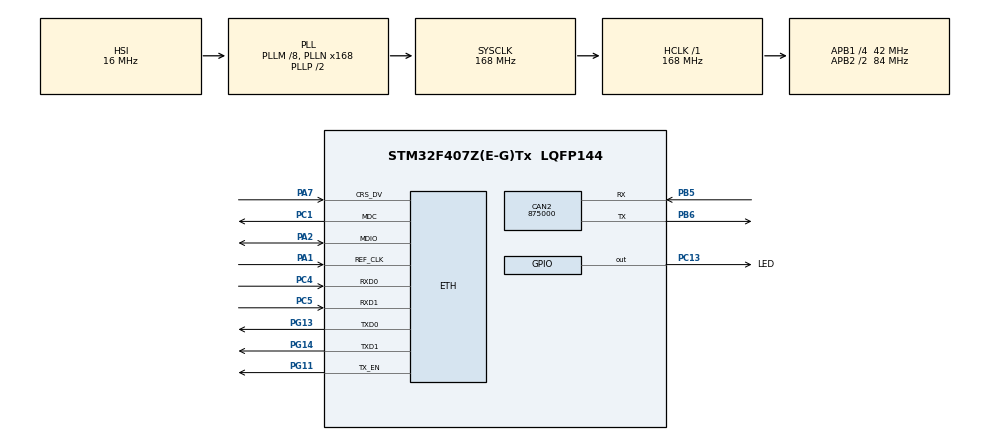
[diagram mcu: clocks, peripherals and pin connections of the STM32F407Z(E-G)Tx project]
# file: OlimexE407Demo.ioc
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CAN2.CalculateBaudRate=875000
CAN2.CalculateTimeBit=1142
CAN2.CalculateTimeQuantum=380.95238095238096
ETH.MediaInterface=HAL_ETH_RMII_MODE
ETH.PHY_Name_RMII=userPHY
ETH.PHY_User_Name=LAN8710A
ETH.PhyAddress=0
ETH.RxMode=ETH_RXINTERRUPT_MODE
FREERTOS.Queues01=UdpPacketQueue,16,uint16_t,0,Dynamic,NULL,NULL;CANPacketQueue,16,uint16_t,0,Dynamic,NULL,NULL
FREERTOS.Tasks01=AppTask,24,128,StartAppTaskTask,Default,NULL,Dynamic,NULL,NULL
FREERTOS.configUSE_NEWLIB_REENTRANT=1
LWIP.BSP.number=1
LWIP.GATEWAY_ADDRESS=192.168.001.001
LWIP.IP_ADDRESS=192.168.001.109
LWIP.LWIP_DHCP=0
LWIP.LWIP_TCP=0
LWIP.MEM_SIZE=10*1024
LWIP.NETMASK_ADDRESS=255.255.255.000
LWIP.Version=v2.1.2_Cube
LWIP0.BSP.STBoard=false
LWIP0.BSP.api=BSP_COMPONENT_DRIVER
LWIP0.BSP.component=LAN8742
LWIP0.BSP.instance=LAN8742
LWIP0.BSP.name=Driver_PHY
LWIP0.BSP.semaphore=S_LAN8742
LWIP0.BSP.solution=LAN8742
Mcu.Family=STM32F4
Mcu.Name=STM32F407Z(E-G)Tx
Mcu.Package=LQFP144
NVIC.ETH_IRQn=true\:5\:0\:false\:false\:true\:true\:false\:true\:true
NVIC.PriorityGroup=NVIC_PRIORITYGROUP_4
NVIC.TIM1_UP_TIM10_IRQn=true\:15\:0\:false\:false\:true\:false\:false\:true\:true
NVIC.TimeBase=TIM1_UP_TIM10_IRQn
NVIC.TimeBaseIP=TIM1
PA1.Mode=RMII
PA1.Signal=ETH_REF_CLK
PA13.Mode=Serial_Wire
PA13.Signal=SYS_JTMS-SWDIO
PA14.Mode=Serial_Wire
PA14.Signal=SYS_JTCK-SWCLK
PA2.Mode=RMII
PA2.Signal=ETH_MDIO
PA7.Mode=RMII
PA7.Signal=ETH_CRS_DV
PB5.Mode=CAN_Activate
PB5.Signal=CAN2_RX
PB6.Mode=CAN_Activate
PB6.Signal=CAN2_TX
PC1.Mode=RMII
PC1.Signal=ETH_MDC
PC13-ANTI_TAMP.GPIO_Label=LED
PC13-ANTI_TAMP.GPIO_PuPd=GPIO_PULLDOWN
PC13-ANTI_TAMP.Signal=GPIO_Output
PC14-OSC32_IN.Mode=LSE-External-Oscillator
PC14-OSC32_IN.Signal=RCC_OSC32_IN
PC15-OSC32_OUT.Mode=LSE-External-Oscillator
PC15-OSC32_OUT.Signal=RCC_OSC32_OUT
PC4.Mode=RMII
PC4.Signal=ETH_RXD0
PC5.Mode=RMII
PC5.Signal=ETH_RXD1
PD0.Signal=CAN1_RX
PD1.Signal=CAN1_TX
PG11.Mode=RMII
PG11.Signal=ETH_TX_EN
PG13.Mode=RMII
PG13.Signal=ETH_TXD0
PG14.Mode=RMII
PG14.Signal=ETH_TXD1
PH0-OSC_IN.Mode=HSE-External-Oscillator
PH0-OSC_IN.Signal=RCC_OSC_IN
PH1-OSC_OUT.Mode=HSE-External-Oscillator
PH1-OSC_OUT.Signal=RCC_OSC_OUT
ProjectManager.HeapSize=0x1600
ProjectManager.StackSize=0x800
ProjectManager.TargetToolchain=STM32CubeIDE
RCC.48MHZClocksFreq_Value=84000000
RCC.AHBFreq_Value=168000000
RCC.APB1CLKDivider=RCC_HCLK_DIV4
RCC.APB1Freq_Value=42000000
RCC.APB1TimFreq_Value=84000000
RCC.APB2CLKDivider=RCC_HCLK_DIV2
RCC.APB2Freq_Value=84000000
RCC.APB2TimFreq_Value=168000000
RCC.CortexFreq_Value=168000000
RCC.HCLKFreq_Value=168000000
RCC.HSE_VALUE=12000000
RCC.HSI_VALUE=16000000
RCC.PLLM=8
RCC.PLLN=168
RCC.SYSCLKFreq_VALUE=168000000
RCC.SYSCLKSource=RCC_SYSCLKSOURCE_PLLCLK
RCC.VCOOutputFreq_Value=336000000
VP_CRC_VS_CRC.Mode=CRC_Activate
VP_FREERTOS_VS_CMSIS_V2.Mode=CMSIS_V2
VP_LWIP_VS_Enabled.Mode=Enabled
VP_SYS_VS_tim1.Mode=TIM1
board=OlimexE407Demo

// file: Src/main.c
/* USER CODE BEGIN Header */
/**
  ******************************************************************************
  * @file           : main.c
  * @brief          : Main program body
  ******************************************************************************
  * @attention
  *
  * Copyright (c) 2023 STMicroelectronics.
  * All rights reserved.
  *
  * This software is licensed under terms that can be found in the LICENSE file
  * in the root directory of this software component.
  * If no LICENSE file comes with this software, it is provided AS-IS.
  *
  ******************************************************************************
  */
/* USER CODE END Header */
#include "main.h"
#include "cmsis_os.h"
#include "can.h"
#include "crc.h"
#include "lwip.h"
#include "gpio.h"

void SystemClock_Config(void);
void MX_FREERTOS_Init(void);

int main(void)
{

  /* MCU Configuration--------------------------------------------------------*/

  /* Reset of all peripherals, Initializes the Flash interface and the Systick. */
  HAL_Init();

  /* Configure the system clock */
  SystemClock_Config();

  /* Initialize all configured peripherals */
  MX_GPIO_Init();
  MX_CRC_Init();
  MX_CAN2_Init();

  /* Init scheduler */
  osKernelInitialize();  /* Call init function for freertos objects (in freertos.c) */
  MX_FREERTOS_Init();

  /* Start scheduler */
  osKernelStart();
  /* We should never get here as control is now taken by the scheduler */
  /* Infinite loop */
  while (1)
  {

  }
}

void SystemClock_Config(void)
{
  RCC_OscInitTypeDef RCC_OscInitStruct = {0};
  RCC_ClkInitTypeDef RCC_ClkInitStruct = {0};

  /** Configure the main internal regulator output voltage
  */
  __HAL_RCC_PWR_CLK_ENABLE();
  __HAL_PWR_VOLTAGESCALING_CONFIG(PWR_REGULATOR_VOLTAGE_SCALE1);

  /** Initializes the RCC Oscillators according to the specified parameters
  * in the RCC_OscInitTypeDef structure.
  */
  RCC_OscInitStruct.OscillatorType = RCC_OSCILLATORTYPE_HSI;
  RCC_OscInitStruct.HSIState = RCC_HSI_ON;
  RCC_OscInitStruct.HSICalibrationValue = RCC_HSICALIBRATION_DEFAULT;
  RCC_OscInitStruct.PLL.PLLState = RCC_PLL_ON;
  RCC_OscInitStruct.PLL.PLLSource = RCC_PLLSOURCE_HSI;
  RCC_OscInitStruct.PLL.PLLM = 8;
  RCC_OscInitStruct.PLL.PLLN = 168;
  RCC_OscInitStruct.PLL.PLLP = RCC_PLLP_DIV2;
  RCC_OscInitStruct.PLL.PLLQ = 4;
  if (HAL_RCC_OscConfig(&RCC_OscInitStruct) != HAL_OK)
  {
    Error_Handler();
  }

  /** Initializes the CPU, AHB and APB buses clocks
  */
  RCC_ClkInitStruct.ClockType = RCC_CLOCKTYPE_HCLK|RCC_CLOCKTYPE_SYSCLK
                              |RCC_CLOCKTYPE_PCLK1|RCC_CLOCKTYPE_PCLK2;
  RCC_ClkInitStruct.SYSCLKSource = RCC_SYSCLKSOURCE_PLLCLK;
  RCC_ClkInitStruct.AHBCLKDivider = RCC_SYSCLK_DIV1;
  RCC_ClkInitStruct.APB1CLKDivider = RCC_HCLK_DIV4;
  RCC_ClkInitStruct.APB2CLKDivider = RCC_HCLK_DIV2;

  if (HAL_RCC_ClockConfig(&RCC_ClkInitStruct, FLASH_LATENCY_5) != HAL_OK)
  {
    Error_Handler();
  }
}

void HAL_TIM_PeriodElapsedCallback(TIM_HandleTypeDef *htim)
{
  if (htim->Instance == TIM1) {
    HAL_IncTick();
  }
}

void Error_Handler(void)
{
  __disable_irq();
  while (1)
  {
  }
}

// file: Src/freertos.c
/* USER CODE BEGIN Header */
/**
  ******************************************************************************
  * File Name          : freertos.c
  * Description        : Code for freertos applications
  ******************************************************************************
  * @attention
  *
  * Copyright (c) 2023 STMicroelectronics.
  * All rights reserved.
  *
  * This software is licensed under terms that can be found in the LICENSE file
  * in the root directory of this software component.
  * If no LICENSE file comes with this software, it is provided AS-IS.
  *
  ******************************************************************************
  */
/* USER CODE END Header */

#include "FreeRTOS.h"
#include "task.h"
#include "main.h"
#include "cmsis_os.h"
#include "udp_server.h"
#include "string.h"

/* USER CODE BEGIN Includes */
typedef StaticQueue_t osStaticMessageQDef_t;
/* USER CODE END Includes */

/* Definitions for defaultTask */
osThreadId_t AppTaskHandle;
const osThreadAttr_t AppTask_attributes = {
  .name = "AppTask",
  .stack_size = 2048,
  .priority = (osPriority_t) osPriorityNormal,
};

/* USER CODE BEGIN FunctionPrototypes */
osThreadId_t CANTaskHandle;
const osThreadAttr_t CANTask_attributes = {
  .name = "CANTask",
  .stack_size = 2048,
  .priority = (osPriority_t) osPriorityNormal1,
};

/* Definitions for CANPacketQueue */
osMessageQueueId_t CANPacketQueueHandle;
uint8_t CANPacketQueueBuffer[ 16 * sizeof( uint16_t ) ];
osStaticMessageQDef_t CANPacketQueueControlBlock;
const osMessageQueueAttr_t CANPacketQueue_attributes = {
  .name = "CANPacketQueue",
  .cb_mem = &CANPacketQueueControlBlock,
  .cb_size = sizeof(CANPacketQueueControlBlock),
  .mq_mem = &CANPacketQueueBuffer,
  .mq_size = sizeof(CANPacketQueueBuffer)
};

osThreadId_t UDPTaskHandle;
const osThreadAttr_t UDPTask_attributes = {
  .name = "UDPTask",
  .stack_size = 2048,
  .priority = (osPriority_t) osPriorityNormal2,
};

/* Definitions for UdpPacketQueue */
osMessageQueueId_t UdpPacketQueueHandle;
uint8_t UdpPacketQueueBuffer[ UDP_QUEUE_SIZE * sizeof(udp_message_type) ];
osStaticMessageQDef_t UdpPacketQueueControlBlock;
const osMessageQueueAttr_t UdpPacketQueue_attributes = {
  .name = "UdpPacketQueue",
  .cb_mem = &UdpPacketQueueControlBlock,
  .cb_size = sizeof(UdpPacketQueueControlBlock),
  .mq_mem = &UdpPacketQueueBuffer,
  .mq_size = sizeof(UdpPacketQueueBuffer)
};

void AppTask(void *argument);
void CANTask(void *argument);
void UDPTask(void *argument);
/* USER CODE END FunctionPrototypes */

extern void MX_LWIP_Init(void);
void MX_FREERTOS_Init(void); /* (MISRA C 2004 rule 8.1) */

void MX_FREERTOS_Init(void) {

  /* USER CODE BEGIN RTOS_QUEUES */
  /* add queues, ... */

  /* Create the queue(s) */
  /* creation of UdpPacketQueue */
  UdpPacketQueueHandle = osMessageQueueNew (UDP_QUEUE_SIZE, sizeof(udp_message_type), &UdpPacketQueue_attributes);

  /* creation of CANPacketQueue */
  CANPacketQueueHandle = osMessageQueueNew (16, sizeof(uint16_t), &CANPacketQueue_attributes);
  /* USER CODE END RTOS_QUEUES */

  /* Create the thread(s) */
  /* creation of defaultTask */

  /* USER CODE BEGIN RTOS_THREADS */
  	UDPTaskHandle = osThreadNew(UDPTask, NULL, &UDPTask_attributes);
  	CANTaskHandle = osThreadNew(CANTask, NULL, &CANTask_attributes);
  	AppTaskHandle = osThreadNew(AppTask, NULL, &AppTask_attributes);

  /* USER CODE END RTOS_THREADS */

}

/* USER CODE BEGIN Header_StartDefaultTask */
void sign_of_life(void)
{
	static int ms_count;
	if (ms_count > 100)
	{
		ms_count = 0;
	    HAL_GPIO_TogglePin(LED_GPIO_Port, LED_Pin);
	}else
	{
	       ms_count++;
	}
}
/**
  * @brief  Function implementing the defaultTask thread.
  * @param  argument: Not used
  * @retval None
  */
extern void udp_server_init(void);
/* USER CODE END Header_StartDefaultTask */
void AppTask(void *argument)
{
  /* init code for LWIP */
  MX_LWIP_Init();
  /* USER CODE BEGIN StartDefaultTask */
  udp_server_init();

   /* Infinite loop */
   for(;;)
   {
	   sign_of_life();
	   osDelay(10);
   }
  /* USER CODE END StartDefaultTask */
}

/* USER CODE BEGIN Application */
void CANTask(void *argument)
{
	for(;;)
	{
		osDelay(20);
	}
}

void UDPTask(void *argument)
{

	for(;;)
	{
		udp_message_type in_msg;
		if(osOK == osMessageQueueGet(UdpPacketQueueHandle,&in_msg,0,osWaitForever))
		{
			udp_server_send(in_msg);
		}

		osThreadYield();

	}
}

bool udp_server_push_packet(const ip_addr_t *in_addr,u16_t in_port,struct pbuf *in_buf)
{
	bool ret_val = false;
	osStatus_t is_enqueued;
	udp_message_type in_msg;
	in_msg.ip_addr = in_addr->addr;
	in_msg.port = in_port;
	in_msg.length = in_buf->len;
	memset(in_msg.udp_recvbuf,0,UDP_MAX_MSG_SIZE);
	memcpy(in_msg.udp_recvbuf,in_buf->payload,in_buf->len);
	is_enqueued  = osMessageQueuePut(UdpPacketQueueHandle,&in_msg,0,osWaitForever);
	if(is_enqueued == osOK)
	{
		ret_val = true;
	}else
	{
		ret_val = false;
	}
	return ret_val;
}
/* USER CODE END Application */
